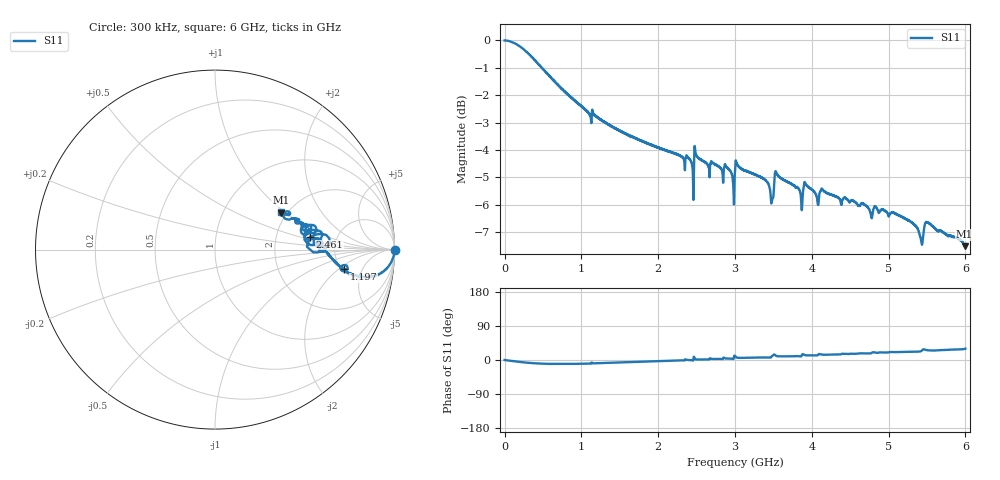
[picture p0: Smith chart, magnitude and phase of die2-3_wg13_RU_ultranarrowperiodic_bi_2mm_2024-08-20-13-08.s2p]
!Keysight Technologies,P9374A,MY57304198,A.17.20.09
!Date: Tuesday, August 20, 2024 13:08:46
!Correction: S11(C  1-Port  )
!S21(C  1-Port  )
!S12(Off)
!S22(Off)
!S2P File: Measurements: S11, S21, S12, S22:
# Hz S  dB  R 50
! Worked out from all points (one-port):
!   6000 points, 300 kHz to 6 GHz, reference 50 ohm
!   lowest |S11| = -7.5 dB at 5.99 GHz (marker M1), VSWR 2.45, Z = 92.8 + j46.4 ohm
!   |S11| at or under -10 dB: nowhere
!   S11 on the Smith chart (normalised r, x): 300 kHz: open; 1.197 GHz: 5.17, -2.39; 2.461 GHz: 3.16, +0.64; 6 GHz: 1.84, +0.95
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300000  0.00 -0.0  -200.00 45.0  -200.00 45.0  -200.00 45.0
4.173487e8  -0.79 -8.9  -200.00 45.0  -200.00 45.0  -200.00 45.0
1.000417e9  -2.40 -9.9  -200.00 45.0  -200.00 45.0  -200.00 45.0
1.19744e9  -2.78 -8.6  -200.00 45.0  -200.00 45.0  -200.00 45.0
2.000533e9  -3.91 -2.8  -200.00 45.0  -200.00 45.0  -200.00 45.0
2.426583e9  -4.42 -0.3  -200.00 45.0  -200.00 45.0  -200.00 45.0
2.460587e9  -5.43 7.8  -200.00 45.0  -200.00 45.0  -200.00 45.0
2.499592e9  -4.21 1.4  -200.00 45.0  -200.00 45.0  -200.00 45.0
2.953645e9  -4.86 3.4  -200.00 45.0  -200.00 45.0  -200.00 45.0
3.00065e9  -4.78 10.5  -200.00 45.0  -200.00 45.0  -200.00 45.0
3.035654e9  -4.58 6.0  -200.00 45.0  -200.00 45.0  -200.00 45.0
3.354691e9  -5.04 6.7  -200.00 45.0  -200.00 45.0  -200.00 45.0
3.480706e9  -5.87 10.1  -200.00 45.0  -200.00 45.0  -200.00 45.0
3.51071e9  -5.21 14.5  -200.00 45.0  -200.00 45.0  -200.00 45.0
3.548714e9  -4.90 10.1  -200.00 45.0  -200.00 45.0  -200.00 45.0
3.864751e9  -6.05 9.8  -200.00 45.0  -200.00 45.0  -200.00 45.0
4.000767e9  -5.44 12.0  -200.00 45.0  -200.00 45.0  -200.00 45.0
5.000883e9  -6.42 20.2  -200.00 45.0  -200.00 45.0  -200.00 45.0
5.434934e9  -7.47 25.5  -200.00 45.0  -200.00 45.0  -200.00 45.0
5.507943e9  -6.66 25.7  -200.00 45.0  -200.00 45.0  -200.00 45.0
5.989999e9  -7.52 29.3  -200.00 45.0  -200.00 45.0  -200.00 45.0
6e9  -7.47 30.0  -200.00 45.0  -200.00 45.0  -200.00 45.0
